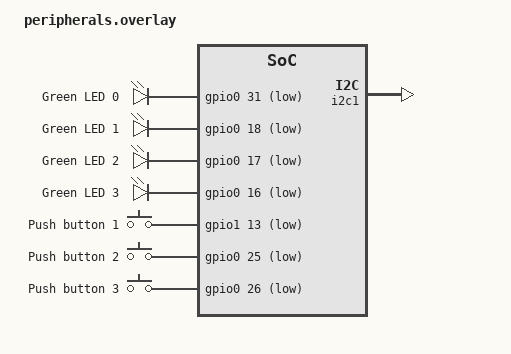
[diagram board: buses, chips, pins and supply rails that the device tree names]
/ {
	aliases {
		led0 = &led0;
		led1 = &led1;
		led2 = &led2;
		led3 = &led3;
	};
	leds {
		compatible = "gpio-leds";
		led0: led_0 {
			gpios = <&gpio0 31 GPIO_ACTIVE_LOW>;
			label = "Green LED 0";
		};
		led1: led_1 {
			gpios = <&gpio0 18 GPIO_ACTIVE_LOW>;
			label = "Green LED 1";
		};
		led2: led_2 {
			gpios = <&gpio0 17 GPIO_ACTIVE_LOW>;
			label = "Green LED 2";
		};
		led3: led_3 {
			gpios = <&gpio0 16 GPIO_ACTIVE_LOW>;
			label = "Green LED 3";
		};
	};
	buttons {
		compatible = "gpio-keys";
		button0: button_0 {
			gpios = <&gpio1 13 (GPIO_PULL_UP | GPIO_ACTIVE_LOW)>;
			label = "Push button 1";
			zephyr,code = <INPUT_KEY_0>;
		};
		button1: button_1 {
			gpios = <&gpio0 25 (GPIO_PULL_UP | GPIO_ACTIVE_LOW)>;
			label = "Push button 2";
			zephyr,code = <INPUT_KEY_1>;
		};
		button2: button_2 {
			gpios = <&gpio0 26 (GPIO_PULL_UP | GPIO_ACTIVE_LOW)>;
			label = "Push button 3";
			zephyr,code = <INPUT_KEY_2>;
		};
	};
};

/* Disable unused peripherals to reduce power consumption */
&i2c1 {
    status = "okay";
};
&spi2 {
    status = "disabled";
};
&spi4 {
    status = "disabled";
};
&adc {
    status = "disabled";
};
&pwm0 {
    status = "disabled";
};
&qspi {
    status = "disabled";
};

&pinctrl {
	uart0_default: uart0_default {
		group1 {
			psels = <NRF_PSEL(UART_TX, 0, 5)>,
				<NRF_PSEL(UART_RX, 0, 4)>,
				<NRF_PSEL(UART_RTS, 0, 2)>,
				<NRF_PSEL(UART_CTS, 0, 3)>;
		};
	};
	uart0_sleep: uart0_sleep {
		group1 {
			psels = <NRF_PSEL(UART_TX, 0, 5)>,
				<NRF_PSEL(UART_RX, 0, 4)>,
				<NRF_PSEL(UART_RTS, 0, 2)>,
				<NRF_PSEL(UART_CTS, 0, 3)>;
			low-power-enable;
		};
	};
};
